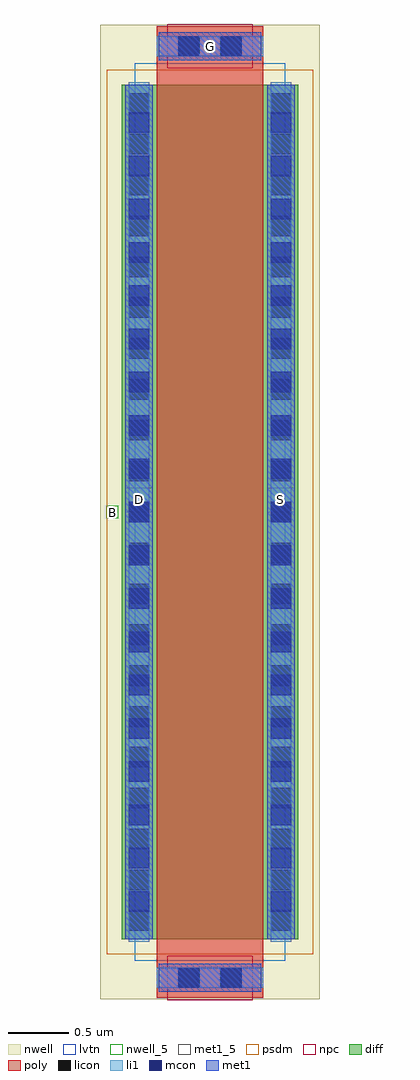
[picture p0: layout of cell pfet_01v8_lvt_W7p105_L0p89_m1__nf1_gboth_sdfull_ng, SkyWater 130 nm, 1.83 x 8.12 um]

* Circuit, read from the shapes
.subckt pfet_01v8_lvt_W7p105_L0p89_m1__nf1_gboth_sdfull_ng B D G S
XM1 S G D B sky130_fd_pr__pfet_01v8_lvt w=7.11 l=0.89
.ends

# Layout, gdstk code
import gdstk
lib = gdstk.Library(unit=1e-6, precision=1e-09)
def R(c, l, rs):  # rectangles x0, y0, x1, y1
    for r in rs: c.add(gdstk.rectangle(r[:2], r[2:], *l))
def A(c, l, x, y, w, h, nx, ny, dx, dy):  # array of equal rectangles
    R(c, l, [(x+i*dx, y+j*dy, x+i*dx+w, y+j*dy+h) for i in range(nx) for j in range(ny)])
nwell_5 = (64, 5)
nwell = (64, 20)
diff = (65, 20)
poly = (66, 20)
licon = (66, 44)
li1 = (67, 20)
mcon = (67, 44)
met1_5 = (68, 5)
met1 = (68, 20)
psdm = (94, 20)
npc = (95, 20)
lvtn = (125, 44)

sky130_fd_pr__pfet_01v8_ = lib.new_cell('sky130_fd_pr__pfet_01v8_lvt_NF2RB5')
R(sky130_fd_pr__pfet_01v8_, nwell, [(-0.915,-4.055,0.915,4.055)])
R(sky130_fd_pr__pfet_01v8_, diff, [(-0.735,-3.555,0.735,3.555)])
R(sky130_fd_pr__pfet_01v8_, poly, [(-0.445,-4.04,0.445,4.04)])
A(sky130_fd_pr__pfet_01v8_, licon, -0.675, -3.485, 0.17, 0.17, 1, 21, 0, 0.34)
A(sky130_fd_pr__pfet_01v8_, licon, 0.505, -3.485, 0.17, 0.17, 1, 21, 0, 0.34)
R(sky130_fd_pr__pfet_01v8_, licon, [(-0.255,-3.96,-0.085,-3.79), (0.085,-3.96,0.255,-3.79), (-0.255,3.79,-0.085,3.96), (0.085,3.79,0.255,3.96)])
R(sky130_fd_pr__pfet_01v8_, li1, [(-0.445,-3.96,0.445,-3.79), (-0.675,-3.575,-0.505,3.575), (0.505,-3.575,0.675,3.575), (-0.445,3.79,0.445,3.96)])
A(sky130_fd_pr__pfet_01v8_, mcon, -0.675, -3.325, 0.17, 0.17, 1, 19, 0, 0.36)
A(sky130_fd_pr__pfet_01v8_, mcon, 0.505, -3.325, 0.17, 0.17, 1, 19, 0, 0.36)
R(sky130_fd_pr__pfet_01v8_, mcon, [(-0.265,-3.96,-0.095,-3.79), (0.095,-3.96,0.265,-3.79), (-0.265,3.79,-0.095,3.96), (0.095,3.79,0.265,3.96)])
R(sky130_fd_pr__pfet_01v8_, met1, [(-0.425,-3.99,0.425,-3.76), (-0.705,-3.555,-0.475,3.555), (0.475,-3.555,0.705,3.555), (-0.425,3.76,0.425,3.99)])
R(sky130_fd_pr__pfet_01v8_, psdm, [(-0.86,-3.68,0.86,3.68)])
R(sky130_fd_pr__pfet_01v8_, npc, [(-0.355,-4.06,0.355,-3.69), (-0.355,3.69,0.355,4.06)])
R(sky130_fd_pr__pfet_01v8_, lvtn, [(-0.625,-3.735,0.625,3.735)])
sky130_fd_pr__pfet_01v8_.add(gdstk.Label('D', (-0.59,0), layer=67, texttype=5))
sky130_fd_pr__pfet_01v8_.add(gdstk.Label('S', (0.59,0), layer=67, texttype=5))
sky130_fd_pr__pfet_01v8_.add(gdstk.Label('G', (0,3.875), layer=67, texttype=5))

pfet_01v8_lvt_w7p105_l0p = lib.new_cell('pfet_01v8_lvt_W7p105_L0p89_m1__nf1_gboth_sdfull_ng')
R(pfet_01v8_lvt_w7p105_l0p, nwell_5, [(0.05,4.005,0.15,4.105)])
R(pfet_01v8_lvt_w7p105_l0p, nwell, [(0.05,4.005,0.15,4.105)])
R(pfet_01v8_lvt_w7p105_l0p, met1_5, [(0.21,4.055,0.44,4.255), (1.39,4.055,1.62,4.255), (0.49,7.815,1.34,8.045)])
R(pfet_01v8_lvt_w7p105_l0p, met1, [(0.21,4.055,0.44,4.255), (1.39,4.055,1.62,4.255), (0.49,7.815,1.34,8.045)])
pfet_01v8_lvt_w7p105_l0p.add(gdstk.Reference(sky130_fd_pr__pfet_01v8_, (0.915,4.055)))
pfet_01v8_lvt_w7p105_l0p.add(gdstk.Label('D', (0.325,4.155), layer=68, texttype=5))
pfet_01v8_lvt_w7p105_l0p.add(gdstk.Label('S', (1.505,4.155), layer=68, texttype=5))
pfet_01v8_lvt_w7p105_l0p.add(gdstk.Label('G', (0.915,7.93), layer=68, texttype=5))
pfet_01v8_lvt_w7p105_l0p.add(gdstk.Label('B', (0.1,4.055), layer=64, texttype=5))

lib.write_gds('pfet_01v8_lvt_W7p105_L0p89_m1__nf1_gboth_sdfull_ng.gds')
